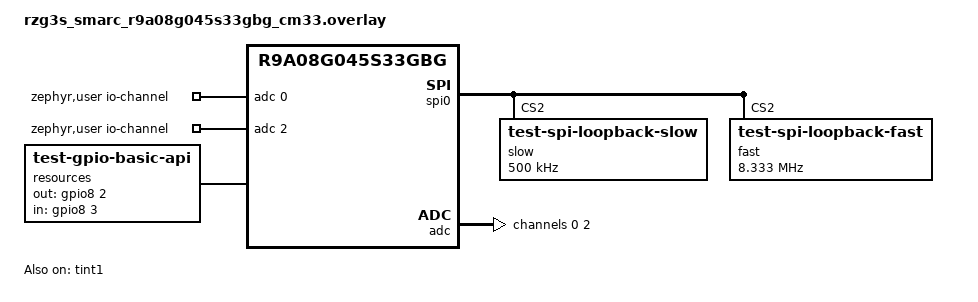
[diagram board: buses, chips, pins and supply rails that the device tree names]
/*
 * Copyright (c) 2024 Renesas Electronics Corporation
 *
 * SPDX-License-Identifier: Apache-2.0
 */

&dma0 {
	status = "okay";
};

tst_dma0: &dma0 {};

&spi0 {
	dmas = <&dma0 6 RZ_DMA_PERIPH_TO_MEM>,
	       <&dma0 5 RZ_DMA_MEM_TO_PERIPH>;
	dma-names = "rx", "tx";
	slow@2 {
		compatible = "test-spi-loopback-slow";
		reg = <2>;
		spi-max-frequency = <500000>;
	};
	fast@2 {
		compatible = "test-spi-loopback-fast";
		reg = <2>;
		spi-max-frequency = <8333333>;
	};
};

&dma0 {
	status = "okay";
	dma-buf-addr-alignment = <1>;
};

/ {
	zephyr,user {
		io-channels = <&adc 0>, <&adc 2>;
	};
};

&adc {
	status = "okay";
	#address-cells = <1>;
	#size-cells = <0>;
	channel@0 {
		reg = <0>;
		zephyr,gain = "ADC_GAIN_1";
		zephyr,reference = "ADC_REF_INTERNAL";
		zephyr,resolution = <12>;
		zephyr,acquisition-time = <ADC_ACQ_TIME_DEFAULT>;
		zephyr,vref-mv = <1800>;
	};
	channel@2 {
		reg = <2>;
		zephyr,gain = "ADC_GAIN_1";
		zephyr,reference = "ADC_REF_INTERNAL";
		zephyr,resolution = <12>;
		zephyr,acquisition-time = <ADC_ACQ_TIME_DEFAULT>;
		zephyr,vref-mv = <1800>;
	};
};

/ {
	resources {
		compatible = "test-gpio-basic-api";
		out-gpios = <&gpio8 2 GPIO_ACTIVE_HIGH>;
		in-gpios = <&gpio8 3 GPIO_ACTIVE_HIGH>;
	};
};

&tint1 {
	status = "okay";
};

&gpio8 {
	irqs = <&tint1 3>;
	status = "okay";
};
